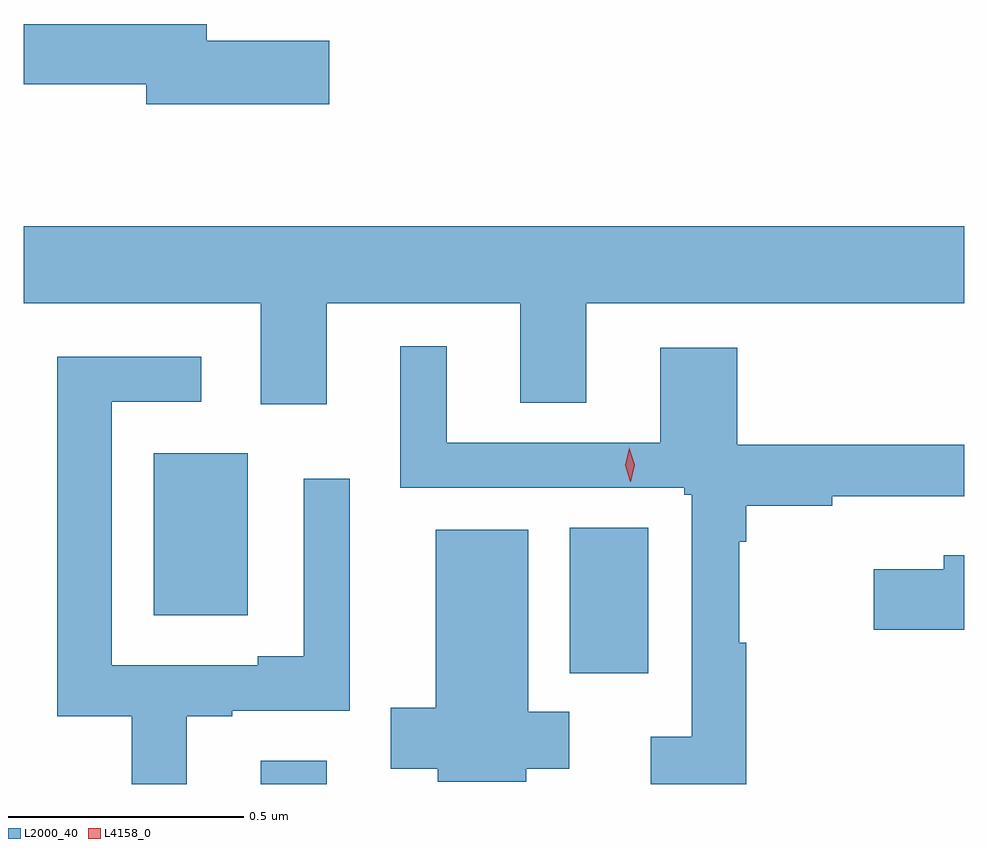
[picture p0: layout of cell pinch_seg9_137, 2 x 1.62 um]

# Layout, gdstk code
import gdstk
lib = gdstk.Library(unit=1e-6, precision=1e-09)
def R(c, l, rs):  # rectangles x0, y0, x1, y1
    for r in rs: c.add(gdstk.rectangle(r[:2], r[2:], *l))
def P(c, l, *ps):  # polygons
    for p in ps: c.add(gdstk.Polygon(p, *l))
L2000_40 = (2000, 40)
L4158_0 = (4158, 0)

pinch_seg9_137 = lib.new_cell('pinch_seg9_137')
R(pinch_seg9_137, L2000_40, [(782.525,1215.378,782.665,1215.427), (783.182,1215.613,783.349,1215.923), (782.297,1215.737,782.497,1216.081)])
P(pinch_seg9_137, L2000_40, [(782.671,1216.958),(782.41,1216.958),(782.41,1216.994),(782.021,1216.994),(782.021,1216.866),(782.282,1216.866),(782.282,1216.823),(782.671,1216.823)],
  [(782.665,1216.4),(783.077,1216.4),(783.077,1216.189),(783.217,1216.189),(783.217,1216.4),(784.021,1216.4),(784.021,1216.564),(782.021,1216.564),(782.021,1216.4),(782.525,1216.4),(782.525,1216.185),(782.665,1216.185)],
  [(783.557,1215.678),(783.542,1215.678),(783.542,1215.893),(783.557,1215.893),(783.557,1215.97),(783.74,1215.97),(783.74,1215.99),(784.021,1215.99),(784.021,1216.099),(783.538,1216.099),(783.538,1216.306),(783.374,1216.306),(783.374,1216.104),(782.92,1216.104),(782.92,1216.309),(782.822,1216.309),(782.822,1216.008),(783.426,1216.008),(783.426,1215.993),(783.441,1215.993),(783.441,1215.478),(783.354,1215.478),(783.354,1215.378),(783.557,1215.378)],
  [(782.368,1215.522),(782.464,1215.522),(782.464,1215.534),(782.714,1215.534),(782.714,1216.027),(782.616,1216.027),(782.616,1215.65),(782.519,1215.65),(782.519,1215.63),(782.208,1215.63),(782.208,1216.191),(782.398,1216.191),(782.398,1216.287),(782.092,1216.287),(782.092,1215.522),(782.251,1215.522),(782.251,1215.378),(782.368,1215.378)],
  [(783.09,1215.41),(783.181,1215.41),(783.181,1215.532),(783.094,1215.532),(783.094,1215.919),(782.897,1215.919),(782.897,1215.54),(782.801,1215.54),(782.801,1215.41),(782.901,1215.41),(782.901,1215.383),(783.09,1215.383)],
  [(784.021,1215.864),(783.977,1215.864),(783.977,1215.835),(783.828,1215.835),(783.828,1215.706),(784.021,1215.706)])
P(pinch_seg9_137, L4158_0, [(783.311,1216.021),(783.3,1216.056),(783.309,1216.092),(783.309,1216.093),(783.309,1216.092),(783.32,1216.057),(783.312,1216.021),(783.312,1216.021)])

lib.write_gds('pinch_seg9_137.gds')
